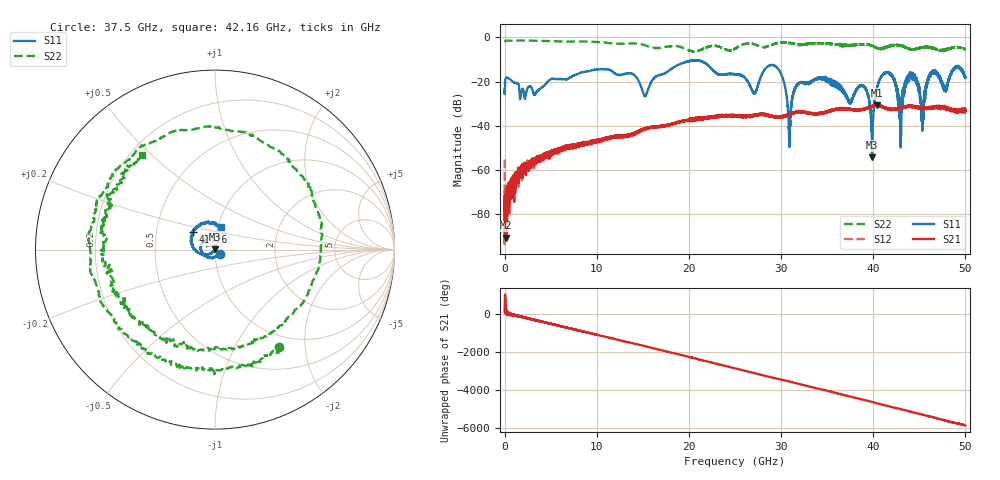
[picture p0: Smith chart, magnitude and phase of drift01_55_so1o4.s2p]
!Created with skrf (http://scikit-rf.org).
# Hz S RI R 50.0
!freq ReS11 ImS11 ReS21 ImS21 ReS12 ImS12 ReS22 ImS22
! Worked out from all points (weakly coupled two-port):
!   10001 points, 300 kHz to 50 GHz, reference 50 ohm
!   highest |S21| = -30.60 dB at 40.44 GHz (marker M1); lowest = -90.5 dB at 115.3 MHz (marker M2)
!   lowest |S11| = -54.1 dB at 39.87 GHz (marker M3), VSWR 1.00, Z = 49.9 + j0.158 ohm
!   |S11| at or under -10 dB: start of sweep to end of sweep
!   |S22| runs from -6.3 to -1.4 dB; largest |S21 - S12| = 0.0042
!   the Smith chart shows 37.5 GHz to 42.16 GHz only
!   S11 on the Smith chart (normalised r, x): 37.5 GHz: 1.05, -0.05; 41.26 GHz: 0.77, +0.16; 42.16 GHz: 1.04, +0.26
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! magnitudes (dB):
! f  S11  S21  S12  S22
! 300 kHz  -23.6  -77.1  -55.2  -2.1
! 115.3 MHz  -18.5  -90.5  -70.8  -1.5
! 2.285 GHz  -26.3  -59.4  -59.2  -1.4
! 8.335 GHz  -15.9  -48.4  -48.3  -1.8
! 16.67 GHz  -17.1  -40.1  -40.2  -4.8
! 25 GHz  -16.5  -35.3  -35.4  -5.1
! 27.1 GHz  -25.2  -35.0  -35.1  -3.1
! 29.44 GHz  -13.1  -35.8  -35.9  -2.7
! 30.92 GHz  -48.5  -34.9  -34.9  -2.5
! 33.34 GHz  -19.8  -34.3  -34.5  -2.7
! 37.5 GHz  -29.0  -32.3  -32.6  -3.7
! 38.97 GHz  -22.1  -32.4  -32.4  -3.1
! 39.87 GHz  -54.1  -31.4  -31.1  -3.7
! 40.44 GHz  -22.2  -30.6  -30.7  -4.8
! 41.26 GHz  -16.1  -32.0  -31.7  -4.6
! 41.67 GHz  -15.9  -32.2  -32.5  -4.3
! 42.16 GHz  -17.8  -32.8  -32.6  -3.5
! 42.94 GHz  -35.6  -31.9  -31.8  -3.6
! 44.07 GHz  -17.5  -31.3  -31.2  -5.3
! 45.32 GHz  -42.2  -32.0  -31.7  -4.5
! 46.42 GHz  -15.2  -31.9  -31.9  -4.7
! 50 GHz  -18.1  -33.0  -33.2  -5.3
